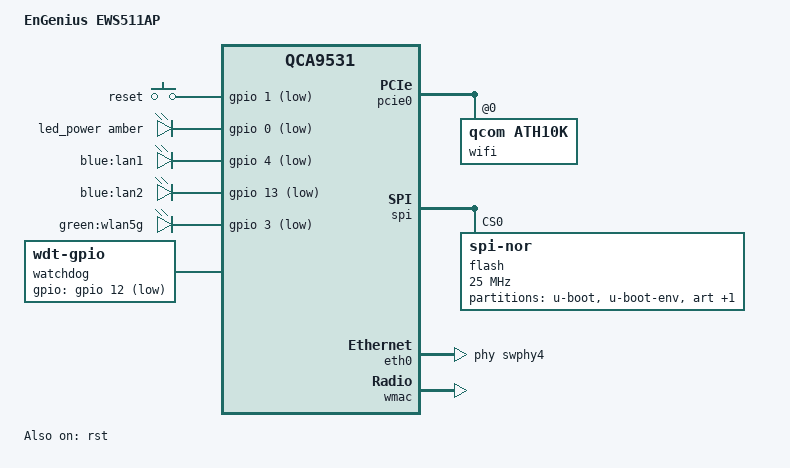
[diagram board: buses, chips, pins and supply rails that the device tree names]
// SPDX-License-Identifier: GPL-2.0-or-later OR MIT

#include "qca953x.dtsi"

#include <dt-bindings/gpio/gpio.h>
#include <dt-bindings/input/input.h>
#include <dt-bindings/leds/common.h>

/ {
	compatible = "engenius,ews511ap", "qca,qca9531";
	model = "EnGenius EWS511AP";

	aliases {
		led-boot = &led_power;
		led-failsafe = &led_power;
		led-running = &led_power;
		led-upgrade = &led_power;
	};

	keys {
		compatible = "gpio-keys";

		pinctrl-names = "default";
		pinctrl-0 = <&jtag_disable_pins>;

		reset {
			label = "reset";
			linux,code = <KEY_RESTART>;
			gpios = <&gpio 1 GPIO_ACTIVE_LOW>;
		};
	};

	leds {
		compatible = "gpio-leds";

		led_power: power {
			function = LED_FUNCTION_POWER;
			color = <LED_COLOR_ID_AMBER>;
			gpios = <&gpio 0 GPIO_ACTIVE_LOW>;
			default-state = "on";
		};

		lan1 {
			label = "blue:lan1";
			gpios = <&gpio 4 GPIO_ACTIVE_LOW>;
		};

		lan2 {
			label = "blue:lan2";
			gpios = <&gpio 13 GPIO_ACTIVE_LOW>;
		};

		wlan5g {
			label = "green:wlan5g";
			gpios = <&gpio 3 GPIO_ACTIVE_LOW>;
			linux,default-trigger = "phy0tpt";
		};
	};

	watchdog {
		compatible = "linux,wdt-gpio";

		gpios = <&gpio 12 GPIO_ACTIVE_LOW>;
		hw_algo = "toggle";
		/* hw_margin_ms is actually 300s but driver limits it to 60s */
		hw_margin_ms = <60000>;
		always-running;
	};
};

&wdt {
	status = "disabled";
};

&rst {
	status = "okay";
};

&pcie0 {
	status = "okay";

	wifi@0,0 {
		compatible = "qcom,ath10k";
		reg = <0x0000 0 0 0 0>;
		nvmem-cells = <&cal_art_5000>, <&macaddr_uboot_e9 1>;
		nvmem-cell-names = "calibration", "mac-address";
	};
};

&spi {
	status = "okay";

	flash@0 {
		compatible = "jedec,spi-nor";
		reg = <0>;
		spi-max-frequency = <25000000>;

		partitions {
			compatible = "fixed-partitions";
			#address-cells = <1>;
			#size-cells = <1>;

			partition@0 {
				label = "u-boot";
				reg = <0x000000 0x040000>;
				read-only;
			};

			ubootenv: partition@40000 {
				label = "u-boot-env";
				reg = <0x040000 0x010000>;

				nvmem-layout {
					compatible = "fixed-layout";
					#address-cells = <1>;
					#size-cells = <1>;

					macaddr_uboot_e9: macaddr@e9 {
						compatible = "mac-base";
						reg = <0xe9 0x11>;
						#nvmem-cell-cells = <1>;
					};
				};
			};

			partition@50000 {
				label = "art";
				reg = <0x050000 0x010000>;
				read-only;

				nvmem-layout {
					compatible = "fixed-layout";
					#address-cells = <1>;
					#size-cells = <1>;

					cal_art_1000: calibration@1000 {
						reg = <0x1000 0x440>;
					};

					cal_art_5000: calibration@5000 {
						reg = <0x5000 0x844>;
					};
				};
			};

			partition@60000 {
				compatible = "denx,uimage";
				label = "firmware";
				reg = <0x060000 0xfa0000>;
			};
		};
	};
};

&eth0 {
	status = "okay";

	phy-handle = <&swphy4>;

	nvmem-cells = <&macaddr_uboot_e9 0>;
	nvmem-cell-names = "mac-address";
};

&eth1 {
	nvmem-cells = <&macaddr_uboot_e9 1>;
	nvmem-cell-names = "mac-address";
};

&wmac {
	status = "okay";

	nvmem-cells = <&cal_art_1000>;
	nvmem-cell-names = "calibration";

	led {
		led-sources = <15>;
		led-active-low;
	};
};
